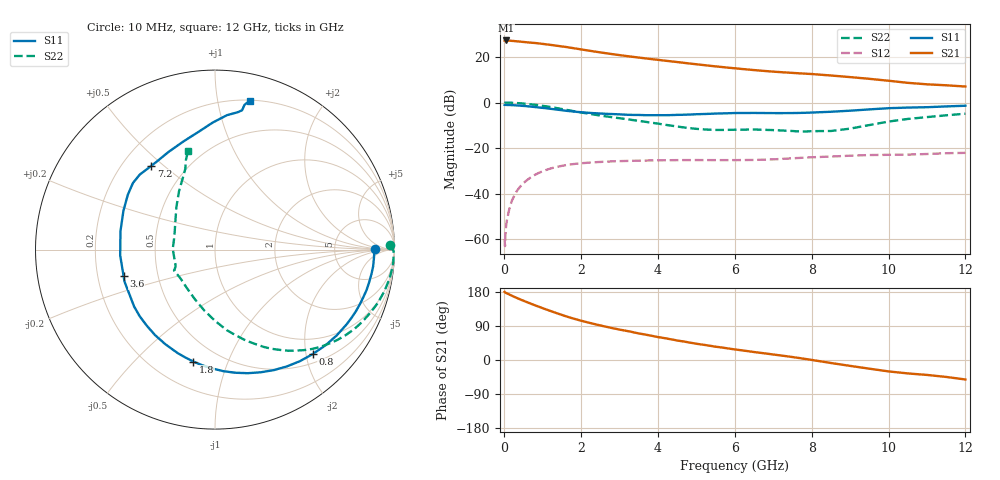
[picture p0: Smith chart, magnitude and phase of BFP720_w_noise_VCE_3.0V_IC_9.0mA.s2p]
! Infineon Technologies  Discrete & RF Semiconductors
! BFP720
! VCE =  3.0 V,  IC =  9.0 mA
! Common Emitter S-Parameters:  Aug 2012
# GHz  S  MA  R  50
!  f  S11  S21  S12  S22
! GHz  MAG  ANG  MAG  ANG  MAG  ANG  MAG  ANG
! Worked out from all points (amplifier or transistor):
!   105 points, 10 MHz to 12 GHz, reference 50 ohm
!   highest |S21| = 27.3 dB at 50 MHz (marker M1)
!   |S21| within 3 dB of that: start of sweep to 1.658 GHz
!   unconditionally stable (mu >= 1): start of sweep to 11.22 MHz; 5.669 GHz to 11.25 GHz
!   at 300 MHz: K = 0.08, MSG = 33.3 dB, |S12| = -39.7 dB
!   at 3.6 GHz: K = 0.66, MSG = 22.5 dB, |S12| = -25.5 dB
!   at 12 GHz: K = 0.79, MSG = 14.6 dB, |S12| = -22.1 dB
!   lowest NFmin = 0.50 dB at 450 MHz
!   S11 on the Smith chart (normalised r, x): 10 MHz: 17, +1; 800 MHz: 0.67, -2.13; 1.8 GHz: 0.36, -0.76; 3.6 GHz: 0.31, -0.13; 7.2 GHz: 0.32, +0.46; 12 GHz: 0.21, +1.24
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0.01  0.8902 0.3  22.98 179.7  0.001 -12.4  0.9764 1.5
0.02  0.8873 -1.0  22.94 178.2  0.0007 80.5  0.9948 -0.5
0.05  0.8869 -2.9  23.14 176.8  0.002 79.1  0.9956 -1.8
0.25  0.874 -14.9  22.5 167.2  0.0086 81.4  0.9854 -9.6
0.4  0.857 -23.6  21.89 160.6  0.0137 76.6  0.9652 -15.3
0.8  0.7967 -47.0  20.37 144.4  0.0259 63.9  0.8941 -29.6
1  0.7642 -58.4  19.45 136.8  0.031 57.9  0.8477 -36.4
1.3  0.7123 -75.2  18.06 125.9  0.0374 49.7  0.7727 -45.8
1.6  0.6623 -91.4  16.68 115.5  0.0421 42.6  0.6967 -54.0
1.8  0.6356 -100.9  15.67 109.4  0.0445 38.5  0.6489 -58.9
2.1  0.6028 -113.7  14.27 101.2  0.0471 33.3  0.5866 -65.3
2.4  0.5817 -125.1  13.03 93.5  0.0491 28.8  0.5342 -71.3
2.8  0.5601 -138.6  11.63 84.4  0.051 24.1  0.4774 -78.2
3.6  0.5304 -163.8  9.514 68.4  0.0532 17.0  0.3854 -91.8
4.1  0.5279 -179.5  8.485 58.9  0.054 13.6  0.3344 -102.1
5  0.5543 157.0  6.942 42.9  0.0546 8.8  0.2645 -126.8
6.1  0.589 139.8  5.554 26.6  0.0545 6.3  0.2534 -149.8
7.2  0.5865 127.2  4.656 11.9  0.0577 6.7  0.2438 -155.6
8.5  0.628 106.2  3.932 -7.9  0.0652 2.5  0.2374 162.5
9.5  0.7081 91.0  3.324 -22.9  0.0703 -2.5  0.3203 132.2
10.5  0.7758 80.6  2.713 -35.4  0.0719 -7.1  0.4365 114.3
12  0.8516 76.9  2.251 -51.4  0.0785 -14.5  0.5694 105.3
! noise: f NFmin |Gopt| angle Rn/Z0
0.45  0.5  0.31  1  0.2
1.8  0.56  0.29  20  0.12
2.4  0.62  0.24  42  0.27
5.5  0.76  0.12  33  0.15
10  0.95  0.4  -81  0.22
